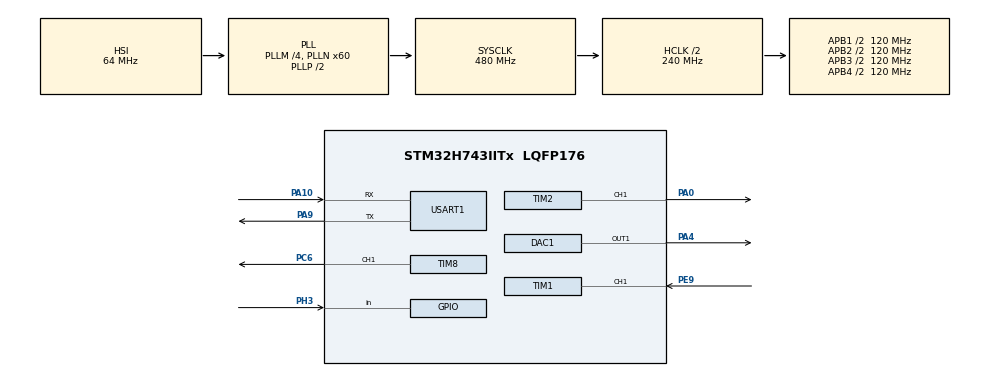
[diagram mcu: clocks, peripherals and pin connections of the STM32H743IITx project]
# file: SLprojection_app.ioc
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CORTEX_M7.default_mode_Activation=1
DAC1.DAC_Channel-DAC_OUT1=DAC_CHANNEL_1
DAC1.DAC_Trigger-DAC_OUT1=DAC_TRIGGER_T2_TRGO
Dma.DAC1_CH1.1.Direction=DMA_MEMORY_TO_PERIPH
Dma.DAC1_CH1.1.EventEnable=DISABLE
Dma.DAC1_CH1.1.FIFOMode=DMA_FIFOMODE_DISABLE
Dma.DAC1_CH1.1.Instance=DMA1_Stream1
Dma.DAC1_CH1.1.MemDataAlignment=DMA_MDATAALIGN_WORD
Dma.DAC1_CH1.1.MemInc=DMA_MINC_ENABLE
Dma.DAC1_CH1.1.Mode=DMA_CIRCULAR
Dma.DAC1_CH1.1.PeriphDataAlignment=DMA_PDATAALIGN_WORD
Dma.DAC1_CH1.1.PeriphInc=DMA_PINC_DISABLE
Dma.DAC1_CH1.1.Polarity=HAL_DMAMUX_REQ_GEN_RISING
Dma.DAC1_CH1.1.Priority=DMA_PRIORITY_HIGH
Dma.DAC1_CH1.1.RequestNumber=1
Dma.DAC1_CH1.1.SignalID=NONE
Dma.DAC1_CH1.1.SyncEnable=DISABLE
Dma.DAC1_CH1.1.SyncPolarity=HAL_DMAMUX_SYNC_NO_EVENT
Dma.DAC1_CH1.1.SyncRequestNumber=1
Dma.DAC1_CH1.1.SyncSignalID=NONE
Dma.Request0=TIM2_CH1
Dma.Request1=DAC1_CH1
Dma.TIM2_CH1.0.Direction=DMA_MEMORY_TO_PERIPH
Dma.TIM2_CH1.0.EventEnable=DISABLE
Dma.TIM2_CH1.0.FIFOMode=DMA_FIFOMODE_DISABLE
Dma.TIM2_CH1.0.Instance=DMA1_Stream0
Dma.TIM2_CH1.0.MemDataAlignment=DMA_MDATAALIGN_WORD
Dma.TIM2_CH1.0.MemInc=DMA_MINC_ENABLE
Dma.TIM2_CH1.0.Mode=DMA_CIRCULAR
Dma.TIM2_CH1.0.PeriphDataAlignment=DMA_PDATAALIGN_WORD
Dma.TIM2_CH1.0.PeriphInc=DMA_PINC_DISABLE
Dma.TIM2_CH1.0.Polarity=HAL_DMAMUX_REQ_GEN_RISING
Dma.TIM2_CH1.0.Priority=DMA_PRIORITY_VERY_HIGH
Dma.TIM2_CH1.0.RequestNumber=1
Dma.TIM2_CH1.0.SignalID=NONE
Dma.TIM2_CH1.0.SyncEnable=DISABLE
Dma.TIM2_CH1.0.SyncPolarity=HAL_DMAMUX_SYNC_NO_EVENT
Dma.TIM2_CH1.0.SyncRequestNumber=1
Dma.TIM2_CH1.0.SyncSignalID=NONE
Mcu.Family=STM32H7
Mcu.Name=STM32H743IITx
Mcu.Package=LQFP176
NVIC.DMA1_Stream0_IRQn=true\:5\:0\:true\:false\:true\:false\:true\:true
NVIC.DMA1_Stream1_IRQn=true\:6\:0\:true\:false\:true\:false\:true\:true
NVIC.PriorityGroup=NVIC_PRIORITYGROUP_4
NVIC.TIM1_CC_IRQn=true\:0\:0\:false\:false\:true\:true\:true\:true
NVIC.USART1_IRQn=true\:7\:0\:true\:false\:true\:true\:true\:true
PA0.GPIO_PuPd=GPIO_PULLDOWN
PA0.GPIO_Speed=GPIO_SPEED_FREQ_VERY_HIGH
PA0.Signal=S_TIM2_CH1_ETR
PA10.Mode=Asynchronous
PA10.Signal=USART1_RX
PA13\ (JTMS/SWDIO).Mode=Serial_Wire
PA13\ (JTMS/SWDIO).Signal=DEBUG_JTMS-SWDIO
PA14\ (JTCK/SWCLK).Mode=Serial_Wire
PA14\ (JTCK/SWCLK).Signal=DEBUG_JTCK-SWCLK
PA4.Signal=COMP_DAC11_group
PA9.Mode=Asynchronous
PA9.Signal=USART1_TX
PC6.GPIO_PuPd=GPIO_PULLDOWN
PC6.GPIO_Speed=GPIO_SPEED_FREQ_HIGH
PC6.Signal=S_TIM8_CH1
PE9.GPIO_PuPd=GPIO_PULLDOWN
PE9.GPIO_Speed=GPIO_SPEED_FREQ_VERY_HIGH
PE9.Signal=S_TIM1_CH1
PH0-OSC_IN\ (PH0).Mode=HSE-External-Oscillator
PH0-OSC_IN\ (PH0).Signal=RCC_OSC_IN
PH1-OSC_OUT\ (PH1).Mode=HSE-External-Oscillator
PH1-OSC_OUT\ (PH1).Signal=RCC_OSC_OUT
PH3.GPIO_PuPd=GPIO_PULLUP
PH3.Signal=GPIO_Input
ProjectManager.HeapSize=0x200
ProjectManager.StackSize=0x400
ProjectManager.TargetToolchain=CMake
RCC.ADCFreq_Value=129000000
RCC.APB1Freq_Value=120000000
RCC.APB2Freq_Value=120000000
RCC.APB3Freq_Value=120000000
RCC.APB4Freq_Value=120000000
RCC.CortexFreq_Value=480000000
RCC.D1PPRE=RCC_APB3_DIV2
RCC.D2PPRE1=RCC_APB1_DIV2
RCC.D2PPRE2=RCC_APB2_DIV2
RCC.D3PPRE=RCC_APB4_DIV2
RCC.DIVM1=4
RCC.DIVN1=60
RCC.HCLKFreq_Value=240000000
RCC.HPRE=RCC_HCLK_DIV2
RCC.PLL2FRACN=0
RCC.PLL3FRACN=0
RCC.PLLFRACN=0
RCC.SYSCLKFreq_VALUE=480000000
RCC.SYSCLKSource=RCC_SYSCLKSOURCE_PLLCLK
RCC.USBFreq_Value=480000000
SH.COMP_DAC11_group.0=DAC1_OUT1,DAC_OUT1
SH.S_TIM1_CH1.0=TIM1_CH1,Input_Capture1_from_TI1
SH.S_TIM2_CH1_ETR.0=TIM2_CH1,Output Compare1 CH1
SH.S_TIM8_CH1.0=TIM8_CH1,PWM Generation1 CH1
TIM1.AutoReloadPreload=TIM_AUTORELOAD_PRELOAD_ENABLE
TIM1.Channel-Input_Capture1_from_TI1=TIM_CHANNEL_1
TIM1.ICFilter_CH1=0
TIM1.Prescaler=0
TIM1.TIM_MasterOutputTrigger=TIM_TRGO_OC1
TIM2.AutoReloadPreload=TIM_AUTORELOAD_PRELOAD_DISABLE
TIM2.Channel-Output\ Compare1\ CH1=TIM_CHANNEL_1
TIM2.OC1Preload=DISABLE
TIM2.OCMode_1=TIM_OCMODE_TIMING
TIM2.OCPolarity_1=TIM_OCPOLARITY_LOW
TIM2.Period=158610
TIM2.Prescaler=0
TIM2.Pulse-Output\ Compare1\ CH1=0
TIM2.TIM_MasterOutputTrigger=TIM_TRGO_OC1
TIM8.Channel-PWM\ Generation1\ CH1=TIM_CHANNEL_1
TIM8.OCFastMode_PWM-PWM\ Generation1\ CH1=TIM_OCFAST_ENABLE
TIM8.OCPolarity_1=TIM_OCPOLARITY_LOW
TIM8.Period=100-1
TIM8.Prescaler=12-1
TIM8.Pulse-PWM\ Generation1\ CH1=50
USART1.VirtualMode-Asynchronous=VM_ASYNC
VP_MEMORYMAP_VS_MEMORYMAP.Mode=CurAppReg
VP_TIM1_VS_ClockSourceINT.Mode=Internal
VP_TIM2_VS_ClockSourceINT.Mode=Internal
VP_TIM2_VS_ClockSourceITR.Mode=TriggerSource_ITR0
VP_TIM2_VS_ControllerModeCombinedResetTrigger.Mode=Combined_Reset_Trigger_Mode
VP_TIM2_VS_OPM.Mode=OPM_bit
VP_TIM8_VS_ClockSourceINT.Mode=Internal
VP_TIM8_VS_OPM.Mode=OPM_bit
board=custom

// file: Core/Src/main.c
/* USER CODE BEGIN Header */
/* USER CODE END Header */
#include "main.h"
#include "dac.h"
#include "dma.h"
#include "tim.h"
#include "usart.h"
#include "gpio.h"

/* USER CODE BEGIN Includes */
// 引入应用层模块
#include "app_projector.h"
#include "app_commander.h"
/* USER CODE END Includes */

/* USER CODE BEGIN PV */
// 这里不需要定义全局变量了，都在 App 模块中定义
/* USER CODE END PV */

void SystemClock_Config(void);
static void MPU_Config(void);
/* USER CODE BEGIN PFP */
// =========================================================
//  HAL 中断回调转发 (Glue Code)
// =========================================================

/**
  * @brief 串口接收完成回调
  */
void HAL_UART_RxCpltCallback(UART_HandleTypeDef *huart) {
  if (huart->Instance == USART1) {
    Comm_OnRxISR(&g_comm);
  }
}

/**
  * @brief 定时器输入捕获回调 (业务核心触发)
  */
void HAL_TIM_IC_CaptureCallback(TIM_HandleTypeDef *htim) {
  if (htim->Instance == TIM1) {
    Projector_OnTriggerISR(&g_proj);
  }
}
/* USER CODE END PFP */

int main(void)
{

  /* MPU Configuration--------------------------------------------------------*/
  MPU_Config();

  /* MCU Configuration--------------------------------------------------------*/

  /* Reset of all peripherals, Initializes the Flash interface and the Systick. */
  HAL_Init();

  /* Configure the system clock */
  SystemClock_Config();

  /* Initialize all configured peripherals */
  MX_GPIO_Init();
  MX_DMA_Init();
  MX_TIM1_Init();
  MX_TIM2_Init();
  MX_TIM8_Init();
  MX_DAC1_Init();
  MX_USART1_UART_Init();
  /* USER CODE BEGIN 2 */

  // 1. 初始化应用层对象
  Projector_Init(&g_proj);
  Comm_Init(&g_comm, &huart1);

  // 2. 配置中断优先级 (保持原有逻辑)
  // 确保 TIM1 优先级高于 UART，防止数据传输时影响波形触发
  HAL_NVIC_SetPriority(TIM1_CC_IRQn, 1, 0);

  // 3. 启动系统
  Projector_StartStep(&g_proj);
  HAL_TIM_OnePulse_Start(&htim8, TIM_CHANNEL_1); // 启动相机脉冲定时器待命

  /* USER CODE END 2 */

  /* Infinite loop */
  /* USER CODE BEGIN WHILE */
  while (1) {

    // --- 任务 1: 串口通信与数据更新 ---
    Comm_HandleUpdateProcess(&g_comm, &g_proj);

    // --- 任务 2: 自动换行逻辑 ---
    // 条件：相机动作完成 + 还有下一行 + 处于自动模式
    if (Projector_IsRowFinished(&g_proj) &&
        g_proj.current_step < g_proj.cur_rows &&
        g_proj.auto_mode_flag == 1)
    {
        Projector_NextRow(&g_proj);
    }

    // --- 任务 3: 手动 GPIO 触发逻辑 ---
    if (HAL_GPIO_ReadPin(GPIOH, GPIO_PIN_3) == GPIO_PIN_RESET) {
        HAL_Delay(50); // 消抖
        if (HAL_GPIO_ReadPin(GPIOH, GPIO_PIN_3) == GPIO_PIN_RESET) {

            // 手动切换下一行
            Projector_NextRow(&g_proj);

            // 等待按键释放
            while (HAL_GPIO_ReadPin(GPIOH, GPIO_PIN_3) == GPIO_PIN_RESET);
        }
    }

    /* USER CODE END WHILE */

  }
}

void SystemClock_Config(void)
{
  RCC_OscInitTypeDef RCC_OscInitStruct = {0};
  RCC_ClkInitTypeDef RCC_ClkInitStruct = {0};

  /** Supply configuration update enable
  */
  HAL_PWREx_ConfigSupply(PWR_LDO_SUPPLY);

  /** Configure the main internal regulator output voltage
  */
  __HAL_PWR_VOLTAGESCALING_CONFIG(PWR_REGULATOR_VOLTAGE_SCALE0);

  while(!__HAL_PWR_GET_FLAG(PWR_FLAG_VOSRDY)) {}

  /** Initializes the RCC Oscillators according to the specified parameters
  * in the RCC_OscInitTypeDef structure.
  */
  RCC_OscInitStruct.OscillatorType = RCC_OSCILLATORTYPE_HSI;
  RCC_OscInitStruct.HSIState = RCC_HSI_DIV1;
  RCC_OscInitStruct.HSICalibrationValue = RCC_HSICALIBRATION_DEFAULT;
  RCC_OscInitStruct.PLL.PLLState = RCC_PLL_ON;
  RCC_OscInitStruct.PLL.PLLSource = RCC_PLLSOURCE_HSI;
  RCC_OscInitStruct.PLL.PLLM = 4;
  RCC_OscInitStruct.PLL.PLLN = 60;
  RCC_OscInitStruct.PLL.PLLP = 2;
  RCC_OscInitStruct.PLL.PLLQ = 2;
  RCC_OscInitStruct.PLL.PLLR = 2;
  RCC_OscInitStruct.PLL.PLLRGE = RCC_PLL1VCIRANGE_3;
  RCC_OscInitStruct.PLL.PLLVCOSEL = RCC_PLL1VCOWIDE;
  RCC_OscInitStruct.PLL.PLLFRACN = 0;
  if (HAL_RCC_OscConfig(&RCC_OscInitStruct) != HAL_OK)
  {
    Error_Handler();
  }

  /** Initializes the CPU, AHB and APB buses clocks
  */
  RCC_ClkInitStruct.ClockType = RCC_CLOCKTYPE_HCLK|RCC_CLOCKTYPE_SYSCLK
                              |RCC_CLOCKTYPE_PCLK1|RCC_CLOCKTYPE_PCLK2
                              |RCC_CLOCKTYPE_D3PCLK1|RCC_CLOCKTYPE_D1PCLK1;
  RCC_ClkInitStruct.SYSCLKSource = RCC_SYSCLKSOURCE_PLLCLK;
  RCC_ClkInitStruct.SYSCLKDivider = RCC_SYSCLK_DIV1;
  RCC_ClkInitStruct.AHBCLKDivider = RCC_HCLK_DIV2;
  RCC_ClkInitStruct.APB3CLKDivider = RCC_APB3_DIV2;
  RCC_ClkInitStruct.APB1CLKDivider = RCC_APB1_DIV2;
  RCC_ClkInitStruct.APB2CLKDivider = RCC_APB2_DIV2;
  RCC_ClkInitStruct.APB4CLKDivider = RCC_APB4_DIV2;

  if (HAL_RCC_ClockConfig(&RCC_ClkInitStruct, FLASH_LATENCY_4) != HAL_OK)
  {
    Error_Handler();
  }
}

 /* MPU Configuration */

void MPU_Config(void)
{
  MPU_Region_InitTypeDef MPU_InitStruct = {0};

  /* Disables the MPU */
  HAL_MPU_Disable();

  /** Initializes and configures the Region and the memory to be protected
  */
  MPU_InitStruct.Enable = MPU_REGION_ENABLE;
  MPU_InitStruct.Number = MPU_REGION_NUMBER0;
  MPU_InitStruct.BaseAddress = 0x0;
  MPU_InitStruct.Size = MPU_REGION_SIZE_4GB;
  MPU_InitStruct.SubRegionDisable = 0x87;
  MPU_InitStruct.TypeExtField = MPU_TEX_LEVEL0;
  MPU_InitStruct.AccessPermission = MPU_REGION_NO_ACCESS;
  MPU_InitStruct.DisableExec = MPU_INSTRUCTION_ACCESS_DISABLE;
  MPU_InitStruct.IsShareable = MPU_ACCESS_SHAREABLE;
  MPU_InitStruct.IsCacheable = MPU_ACCESS_NOT_CACHEABLE;
  MPU_InitStruct.IsBufferable = MPU_ACCESS_NOT_BUFFERABLE;

  HAL_MPU_ConfigRegion(&MPU_InitStruct);
  /* Enables the MPU */
  HAL_MPU_Enable(MPU_PRIVILEGED_DEFAULT);

}

void Error_Handler(void)
{
  __disable_irq();
  while (1)
  {
  }
}
#ifdef USE_FULL_ASSERT
/**
  * @brief  Reports the name of the source file and the source line number
  *         where the assert_param error has occurred.
  * @param  file: pointer to the source file name
  * @param  line: assert_param error line source number
  * @retval None
  */
void assert_failed(uint8_t *file, uint32_t line)
{
  /* USER CODE BEGIN 6 */

  /* User can add his own implementation to report the file name and line
     number,

     ex: printf("Wrong parameters value: file %s on line %d\r\n", file, line) */

  /* USER CODE END 6 */
}
#endif /* USE_FULL_ASSERT */
